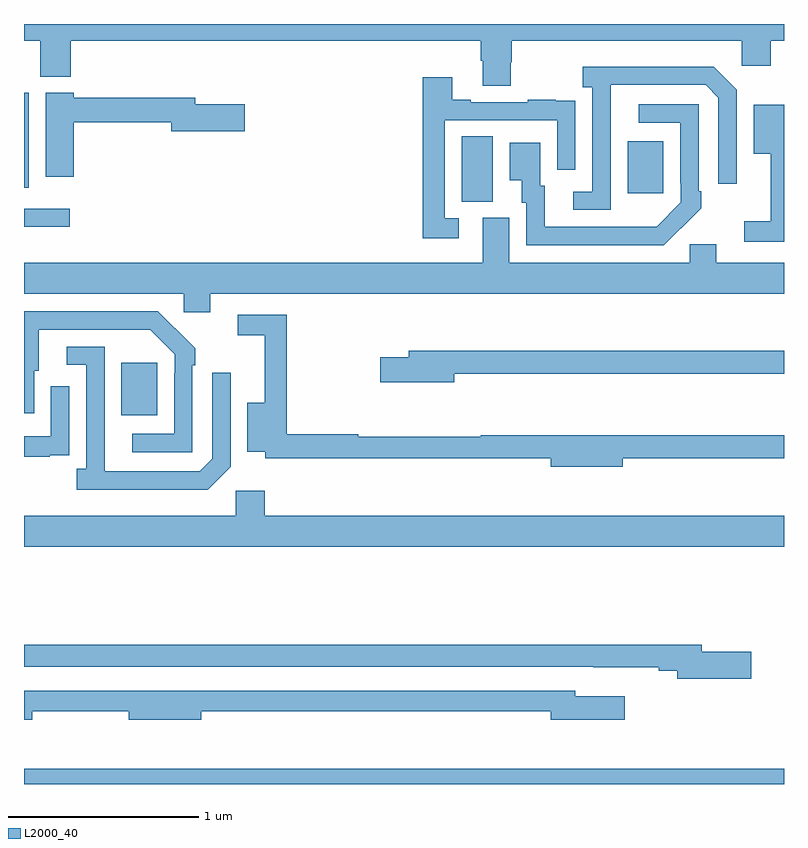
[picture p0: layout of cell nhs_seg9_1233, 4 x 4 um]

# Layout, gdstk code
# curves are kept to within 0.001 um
import gdstk
lib = gdstk.Library(unit=1e-6, precision=1e-09)
def R(c, l, rs):  # rectangles x0, y0, x1, y1
    for r in rs: c.add(gdstk.rectangle(r[:2], r[2:], *l))
def P(c, l, *ps):  # polygons
    for p in ps: c.add(gdstk.Polygon(p, *l))
L2000_40 = (2000, 40)

nhs_seg9_1233 = lib.new_cell('nhs_seg9_1233')
R(nhs_seg9_1233, L2000_40, [(179,1200.5,183,1200.58), (179.513,1202.441,179.701,1202.716), (179,1203.432,179.242,1203.528), (181.304,1203.565,181.468,1203.908), (182.177,1203.609,182.365,1203.883), (179,1203.638,179.026,1204.138)])
P(nhs_seg9_1233, L2000_40, [(181.563,1204.299),(181.568,1204.299),(181.568,1204.412),(182.778,1204.412),(182.778,1204.281),(182.93,1204.281),(182.93,1204.412),(183,1204.412),(183,1204.5),(179,1204.5),(179,1204.412),(179.086,1204.412),(179.086,1204.223),(179.246,1204.223),(179.246,1204.412),(181.403,1204.412),(181.403,1204.306),(181.415,1204.306),(181.415,1204.174),(181.563,1204.174)],
  [(182.088,1203.979),(182.089,1204.179),(182.589,1204.179),(182.655,1204.113),(182.655,1203.66),(182.751,1203.66),(182.751,1204.155),(182.63,1204.276),(181.941,1204.276),(181.941,1204.166),(181.992,1204.166),(181.992,1203.618),(181.89,1203.618),(181.89,1203.522),(182.088,1203.522)],
  [(181.288,1203.477),(181.215,1203.477),(181.215,1203.993),(181.806,1203.993),(181.806,1203.732),(181.902,1203.732),(181.902,1203.986),(181.901,1203.986),(181.901,1204.095),(181.799,1204.095),(181.799,1204.102),(181.651,1204.102),(181.651,1204.089),(181.351,1204.089),(181.351,1204.102),(181.255,1204.102),(181.255,1204.219),(181.099,1204.219),(181.099,1203.372),(181.288,1203.372)],
  [(179.261,1203.982),(179.774,1203.982),(179.774,1203.935),(180.163,1203.935),(180.163,1204.077),(179.902,1204.077),(179.902,1204.111),(179.261,1204.111),(179.261,1204.138),(179.114,1204.138),(179.114,1203.696),(179.261,1203.696)],
  [(182.459,1203.427),(182.46,1203.426),(182.565,1203.531),(182.565,1203.619),(182.55,1203.619),(182.55,1204.077),(182.235,1204.077),(182.235,1203.981),(182.454,1203.981),(182.454,1203.661),(182.457,1203.661),(182.457,1203.561),(182.329,1203.433),(181.741,1203.432),(181.741,1203.648),(181.717,1203.648),(181.717,1203.874),(181.556,1203.874),(181.556,1203.677),(181.619,1203.677),(181.619,1203.558),(181.644,1203.558),(181.644,1203.336),(182.368,1203.336)],
  [(183,1204.075),(182.84,1204.075),(182.84,1203.818),(182.93,1203.818),(182.93,1203.463),(182.79,1203.463),(182.79,1203.354),(183,1203.354)],
  [(179.98,1203.08),(183,1203.08),(183,1203.244),(182.644,1203.244),(182.644,1203.342),(182.505,1203.342),(182.505,1203.244),(181.555,1203.244),(181.555,1203.48),(181.415,1203.48),(181.415,1203.244),(179,1203.244),(179,1203.08),(179.841,1203.08),(179.841,1202.982),(179.98,1202.982)],
  [(179.886,1202.705),(179.901,1202.705),(179.901,1202.793),(179.704,1202.988),(179,1202.988),(179,1202.451),(179.053,1202.451),(179.053,1202.676),(179.077,1202.676),(179.077,1202.892),(179.665,1202.892),(179.793,1202.763),(179.793,1202.663),(179.79,1202.663),(179.79,1202.343),(179.571,1202.343),(179.571,1202.247),(179.886,1202.247)],
  [(182.152,1202.214),(183,1202.214),(183,1202.335),(181.404,1202.335),(181.404,1202.327),(180.76,1202.327),(180.76,1202.342),(180.383,1202.342),(180.383,1202.97),(180.126,1202.97),(180.126,1202.862),(180.266,1202.862),(180.266,1202.506),(180.176,1202.506),(180.176,1202.249),(180.27,1202.249),(180.27,1202.214),(181.772,1202.214),(181.772,1202.171),(182.152,1202.171)],
  [(180.087,1202.169),(180.087,1202.665),(179.991,1202.665),(179.991,1202.211),(179.925,1202.145),(179.425,1202.145),(179.424,1202.802),(179.226,1202.802),(179.226,1202.706),(179.328,1202.706),(179.328,1202.158),(179.277,1202.158),(179.277,1202.048),(179.966,1202.048)],
  [(181.264,1202.658),(183,1202.658),(183,1202.779),(181.025,1202.779),(181.025,1202.745),(180.876,1202.745),(180.876,1202.615),(181.264,1202.615)],
  [(179.135,1202.229),(179.237,1202.229),(179.237,1202.338),(179.238,1202.338),(179.238,1202.593),(179.142,1202.593),(179.142,1202.331),(179,1202.331),(179,1202.223),(179.135,1202.223)],
  [(183,1201.912),(180.266,1201.912),(180.266,1202.044),(180.114,1202.044),(180.114,1201.912),(179,1201.912),(179,1201.748),(183,1201.748)],
  [(182.827,1201.196),(182.566,1201.196),(182.566,1201.232),(179,1201.232),(179,1201.116),(181.996,1201.116),(181.996,1201.115),(182.342,1201.115),(182.342,1201.096),(182.438,1201.096),(182.438,1201.054),(182.827,1201.054)],
  [(179.044,1200.882),(179.552,1200.882),(179.552,1200.839),(179.932,1200.839),(179.932,1200.882),(181.772,1200.882),(181.772,1200.839),(182.161,1200.839),(182.161,1200.961),(181.9,1200.961),(181.9,1200.99),(179,1200.99),(179,1200.839),(179.044,1200.839)])

lib.write_gds('nhs_seg9_1233.gds')
